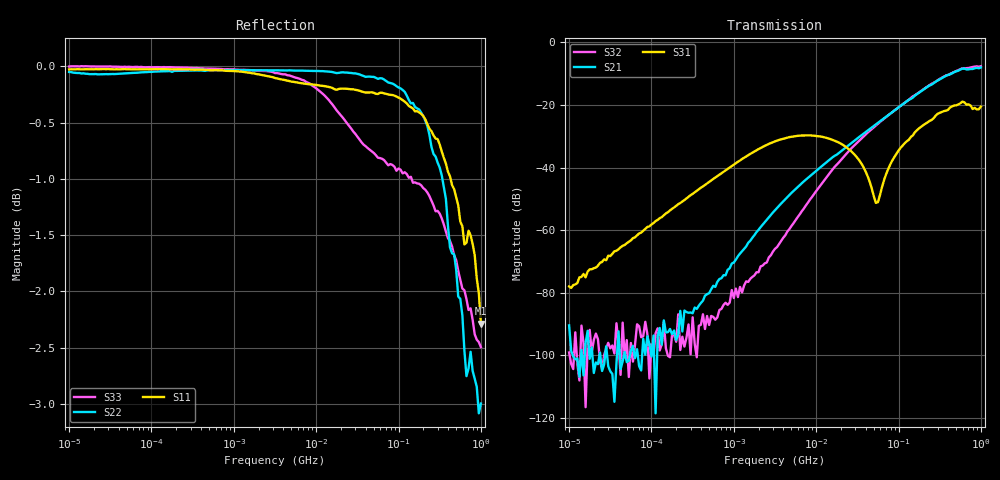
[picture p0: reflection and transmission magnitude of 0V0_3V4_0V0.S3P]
!Keysight Technologies,E5080A,MY55100144,A.11.70.03
!Date: Monday, November 13, 2017 17:24:54
!Correction: S11(Full 3 Port(1,2,3))
!S12(Full 3 Port(1,2,3))
!S13(Full 3 Port(1,2,3))
!S21(Full 3 Port(1,2,3))
!S22(Full 3 Port(1,2,3))
!S23(Full 3 Port(1,2,3))
!S31(Full 3 Port(1,2,3))
!S32(Full 3 Port(1,2,3))
!S33(Full 3 Port(1,2,3))
!S3P File: Measurements: <S11,S12,S13>,
!<S21,S22,S23>,
!<S31,S32,S33>:Log Frequency Sweep
# Hz S  RI  R 50
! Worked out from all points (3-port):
!   201 points, 10 kHz to 1 GHz, reference 50 ohm
!   strongest paths, dB at 10 kHz, 177.8 kHz, 3.162 MHz, 56.23 MHz, 1 GHz:
!     S31: -78.0, -53.2, -31.6, -51.0, -20.5
!     S21: -90.4, -93.2, -53.6, -25.7, -8.0
!     S32: -99.1, -93.3, -65.9, -26.0, -7.6
!   lowest |S11| = -2.3 dB at 1 GHz (marker M1), VSWR 7.64, Z = 382 + j0.103 ohm
!   |S11| at or under -10 dB: nowhere
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10000  0.9968 -0.00605  -1.09e-06 2.01e-05  2.8e-06 0.000128
       -3e-05 2.79e-06  0.4709 -0.8757  6.1e-06 -4.23e-06
       1.07e-05 0.000125  -5.15e-06 9.86e-06  0.9998 -0.00244
50118.72  0.9965 -0.0299  -1.19e-05 1.44e-05  7.69e-06 0.000615
          7.53e-06 -2.01e-06  -0.7912 -0.5999  6.74e-06 1.06e-05
          9.73e-06 0.000619  1.74e-05 -2.66e-06  0.9993 -0.00564
530884.4  0.9478 -0.306  -6.33e-05 7.2e-05  0.00135 0.0061
          -7.75e-05 8.31e-05  -0.994 -0.0613  -1.33e-05 5.56e-05
          0.00136 0.00609  -6.81e-06 4.21e-05  0.9964 -0.0512
3162278  0.0595 -0.9863  -0.00126 0.00167  0.0207 0.0161
         -0.00123 0.00168  -0.9959 0.00459  -0.000414 0.000284
         0.0208 0.0159  -0.000413 0.00029  0.95 -0.2894
2.113489e7  -0.9474 -0.2406  -0.000812 0.0192  0.0184 -0.0138
            -0.000815 0.0193  -0.9891 0.098  -0.00835 0.0117
            0.0184 -0.0139  -0.00837 0.0117  -0.0182 -0.9485
5.308844e7  -0.9711 0.0474  0.00806 0.0483  0.00276 -0.000217
            0.00813 0.0483  -0.9574 0.245  -0.00611 0.0467
            0.00272 -0.000213  -0.006 0.0468  -0.7373 -0.5387
1.059254e8  -0.9319 0.2595  0.0379 0.0893  0.00801 0.019
            0.038 0.0893  -0.8604 0.4642  0.0234 0.0945
            0.00801 0.019  0.0233 0.0944  -0.895 -0.091
3.758374e8  -0.3685 0.8269  0.2898 0.033  0.081 -0.00596
            0.2901 0.0329  0.0973 0.8678  0.2896 0.0576
            0.0809 -0.00602  0.2893 0.0577  -0.487 0.6899
7.079458e8  0.4641 0.7062  0.1987 -0.3127  0.0119 -0.1014
            0.1985 -0.313  0.6982 0.2265  0.2459 -0.3031
            0.0118 -0.1014  0.2461 -0.3027  0.2565 0.7358
1e9  0.7685 5.53e-05  -0.1004 -0.3849  -0.0567 -0.0754
     -0.1008 -0.3849  0.5908 -0.3903  -0.046 -0.4145
     -0.0567 -0.0753  -0.0456 -0.4146  0.6825 0.3116
